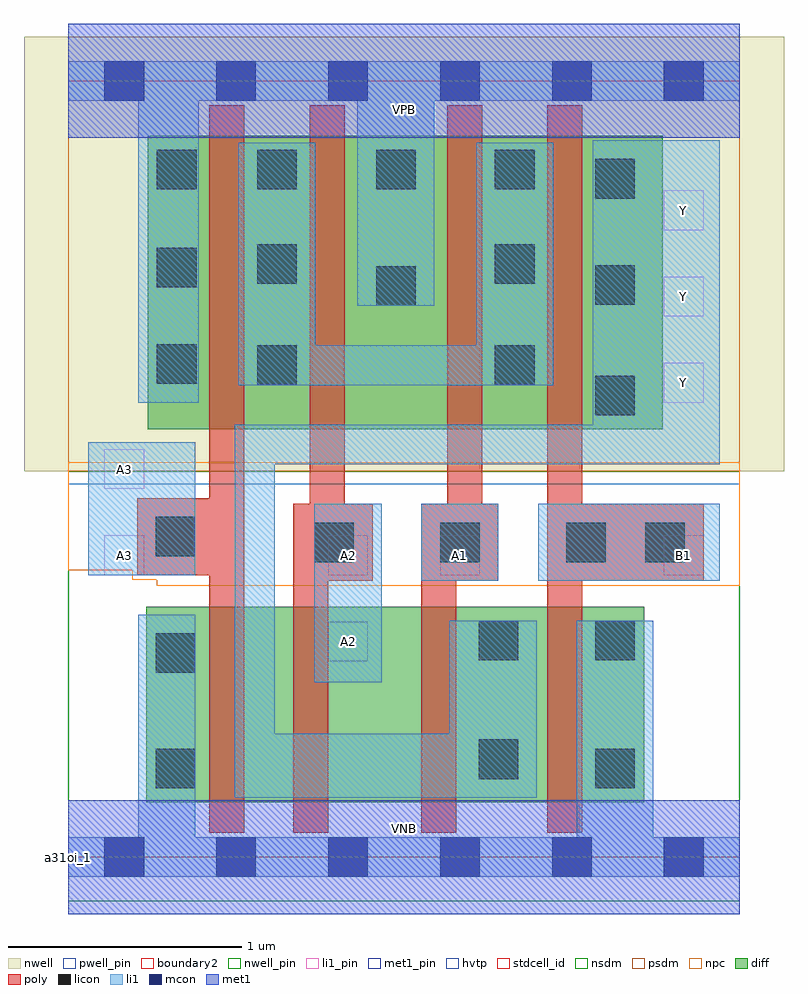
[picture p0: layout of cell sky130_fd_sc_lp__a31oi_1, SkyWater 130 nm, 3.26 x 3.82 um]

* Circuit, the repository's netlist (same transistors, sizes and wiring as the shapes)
* Copyright 2020 The SkyWater PDK Authors
*
* Licensed under the Apache License, Version 2.0 (the "License");
* you may not use this file except in compliance with the License.
* You may obtain a copy of the License at
*
*     https://www.apache.org/licenses/LICENSE-2.0
*
* Unless required by applicable law or agreed to in writing, software
* distributed under the License is distributed on an "AS IS" BASIS,
* WITHOUT WARRANTIES OR CONDITIONS OF ANY KIND, either express or implied.
* See the License for the specific language governing permissions and
* limitations under the License.
*
* SPDX-License-Identifier: Apache-2.0

.SUBCKT sky130_fd_sc_lp__a31oi_1 A1 A2 A3 B1 VGND VNB VPB VPWR Y
*.PININFO A1:I A2:I A3:I B1:I VGND:I VNB:I VPB:I VPWR:I Y:O
MMPA0 pndA A1 VPWR VPB sky130_fd_pr__pfet_01v8_hvt m=1 w=1.26U l=0.15U mult=1 sa=0.265
+ sb=0.265 sd=0.28 area=0.063 perim=1.14
MMPA1 pndA A2 VPWR VPB sky130_fd_pr__pfet_01v8_hvt m=1 w=1.26U l=0.15U mult=1 sa=0.265
+ sb=0.265 sd=0.28 area=0.063 perim=1.14
MMPA2 pndA A3 VPWR VPB sky130_fd_pr__pfet_01v8_hvt m=1 w=1.26U l=0.15U mult=1 sa=0.265
+ sb=0.265 sd=0.28 area=0.063 perim=1.14
MMPB0 Y B1 pndA VPB sky130_fd_pr__pfet_01v8_hvt m=1 w=1.26U l=0.15U mult=1 sa=0.265
+ sb=0.265 sd=0.28 area=0.063 perim=1.14
MMNA0 Y A1 sndA1 VNB sky130_fd_pr__nfet_01v8 m=1 w=0.84U l=0.15U mult=1 sa=0.265
+ sb=0.265 sd=0.28 area=0.063 perim=1.14
MMNA1 sndA1 A2 sndA2 VNB sky130_fd_pr__nfet_01v8 m=1 w=0.84U l=0.15U mult=1 sa=0.265
+ sb=0.265 sd=0.28 area=0.063 perim=1.14
MMNA2 sndA2 A3 VGND VNB sky130_fd_pr__nfet_01v8 m=1 w=0.84U l=0.15U mult=1 sa=0.265
+ sb=0.265 sd=0.28 area=0.063 perim=1.14
MMNB0 Y B1 VGND VNB sky130_fd_pr__nfet_01v8 m=1 w=0.84U l=0.15U mult=1 sa=0.265
+ sb=0.265 sd=0.28 area=0.063 perim=1.14
.ENDS sky130_fd_sc_lp__a31oi_1

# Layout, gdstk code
import gdstk
lib = gdstk.Library(unit=1e-6, precision=1e-09)
def R(c, l, rs):  # rectangles x0, y0, x1, y1
    for r in rs: c.add(gdstk.rectangle(r[:2], r[2:], *l))
def A(c, l, x, y, w, h, nx, ny, dx, dy):  # array of equal rectangles
    R(c, l, [(x+i*dx, y+j*dy, x+i*dx+w, y+j*dy+h) for i in range(nx) for j in range(ny)])
def P(c, l, *ps):  # polygons
    for p in ps: c.add(gdstk.Polygon(p, *l))
nwell_pin = (64, 16)
nwell = (64, 20)
diff = (65, 20)
poly = (66, 20)
licon = (66, 44)
li1_pin = (67, 16)
li1 = (67, 20)
mcon = (67, 44)
met1_pin = (68, 16)
met1 = (68, 20)
hvtp = (78, 44)
stdcell_id = (81, 4)
nsdm = (93, 44)
psdm = (94, 20)
npc = (95, 20)
pwell_pin = (122, 16)
boundary2 = (236, 0)

sky130_fd_sc_lp__a31oi_1 = lib.new_cell('sky130_fd_sc_lp__a31oi_1')
R(sky130_fd_sc_lp__a31oi_1, nwell_pin, [(0,3.085,2.88,3.33)])
R(sky130_fd_sc_lp__a31oi_1, nwell, [(-0.19,1.655,3.07,3.52)])
R(sky130_fd_sc_lp__a31oi_1, diff, [(0.335,0.235,2.47,1.075), (0.34,1.835,2.55,3.095)])
P(sky130_fd_sc_lp__a31oi_1, poly, [(0.755,3.225),(0.605,3.225),(0.605,1.54),(0.295,1.54),(0.295,1.21),(0.605,1.21),(0.605,0.105),(0.755,0.105)],
  [(1.305,1.515),(1.185,1.515),(1.185,3.225),(1.035,3.225),(1.035,1.515),(0.965,1.515),(0.965,0.105),(1.115,0.105),(1.115,1.185),(1.305,1.185)],
  [(1.845,1.515),(1.775,1.515),(1.775,3.225),(1.625,3.225),(1.625,1.515),(1.515,1.515),(1.515,0.105),(1.665,0.105),(1.665,1.185),(1.845,1.185)],
  [(2.725,1.515),(2.205,1.515),(2.205,3.225),(2.055,3.225),(2.055,0.105),(2.205,0.105),(2.205,1.185),(2.725,1.185)])
A(sky130_fd_sc_lp__a31oi_1, licon, 1.055, 1.265, 0.17, 0.17, 3, 1, 0.54, 0)
A(sky130_fd_sc_lp__a31oi_1, licon, 0.81, 2.865, 0.17, 0.17, 3, 1, 0.51, 0)
R(sky130_fd_sc_lp__a31oi_1, licon, [(0.375,0.295,0.545,0.465), (2.26,0.295,2.43,0.465), (1.76,0.335,1.93,0.505), (0.375,0.79,0.545,0.96), (1.76,0.845,1.93,1.015), (2.26,0.845,2.43,1.015), (2.475,1.265,2.645,1.435), (0.375,1.29,0.545,1.46), (2.26,1.895,2.43,2.065), (0.81,2.025,0.98,2.195), (1.83,2.025,2,2.195), (0.38,2.03,0.55,2.2), (1.32,2.365,1.49,2.535), (2.26,2.37,2.43,2.54), (0.38,2.445,0.55,2.615), (0.81,2.46,0.98,2.63), (1.83,2.46,2,2.63), (2.26,2.825,2.43,2.995), (0.38,2.865,0.55,3.035)])
A(sky130_fd_sc_lp__a31oi_1, li1_pin, 2.555, 1.95, 0.17, 0.17, 1, 3, 0, 0.37)
R(sky130_fd_sc_lp__a31oi_1, li1_pin, [(1.115,0.84,1.285,1.01), (0.155,1.21,0.325,1.38), (1.115,1.21,1.285,1.38), (1.595,1.21,1.765,1.38), (2.555,1.21,2.725,1.38), (0.155,1.58,0.325,1.75)])
R(sky130_fd_sc_lp__a31oi_1, li1, [(1.055,0.75,1.345,1.515), (1.515,1.185,1.845,1.515), (2.015,1.185,2.795,1.515), (0.085,1.21,0.545,1.78)])
P(sky130_fd_sc_lp__a31oi_1, li1, [(1.24,2.365),(1.24,3.245),(0.56,3.245),(0.56,1.95),(0.3,1.95),(0.3,3.245),(0,3.245),(0,3.415),(2.88,3.415),(2.88,3.245),(1.57,3.245),(1.57,2.365)],
  [(0.3,0.085),(0.3,1.04),(0.545,1.04),(0.545,0.085),(2.18,0.085),(2.18,1.015),(2.51,1.015),(2.51,0.085),(2.88,0.085),(2.88,-0.085),(0,-0.085),(0,0.085)],
  [(2.795,3.075),(2.25,3.075),(2.25,1.855),(0.715,1.855),(0.715,0.255),(2.01,0.255),(2.01,1.015),(1.635,1.015),(1.635,0.53),(0.885,0.53),(0.885,1.685),(2.795,1.685)],
  [(1.06,2.195),(1.75,2.195),(1.75,3.065),(2.08,3.065),(2.08,2.025),(0.73,2.025),(0.73,3.065),(1.06,3.065)])
A(sky130_fd_sc_lp__a31oi_1, mcon, 0.155, -0.085, 0.17, 0.17, 6, 2, 0.48, 3.33)
R(sky130_fd_sc_lp__a31oi_1, met1_pin, [(0,0,2.88,0.245), (0,3.085,2.88,3.33)])
R(sky130_fd_sc_lp__a31oi_1, met1, [(0,-0.245,2.88,0.245), (0,3.085,2.88,3.575)])
R(sky130_fd_sc_lp__a31oi_1, hvtp, [(0,1.6,2.88,3.33)])
R(sky130_fd_sc_lp__a31oi_1, stdcell_id, [(0,0,2.88,3.33)])
R(sky130_fd_sc_lp__a31oi_1, nsdm, [(0,-0.19,2.88,1.655)])
R(sky130_fd_sc_lp__a31oi_1, psdm, [(0,1.655,2.88,3.52)])
P(sky130_fd_sc_lp__a31oi_1, npc, [(2.88,1.695),(0,1.695),(0,1.23),(0.275,1.23),(0.275,1.19),(0.38,1.19),(0.38,1.165),(2.88,1.165)])
R(sky130_fd_sc_lp__a31oi_1, pwell_pin, [(0,0,2.88,0.245)])
R(sky130_fd_sc_lp__a31oi_1, boundary2, [(0,0,2.88,3.33)])
sky130_fd_sc_lp__a31oi_1.add(gdstk.Label('VNB', (1.44,0.123), layer=64, texttype=59))
sky130_fd_sc_lp__a31oi_1.add(gdstk.Label('VPB', (1.44,3.208), layer=64, texttype=5))
sky130_fd_sc_lp__a31oi_1.add(gdstk.Label('a31oi_1', (0,0), layer=83, texttype=44))
sky130_fd_sc_lp__a31oi_1.add(gdstk.Label('VPWR', (1.44,3.208), layer=68, texttype=5))
sky130_fd_sc_lp__a31oi_1.add(gdstk.Label('VGND', (1.44,0.123), layer=68, texttype=5))
sky130_fd_sc_lp__a31oi_1.add(gdstk.Label('A1', (1.68,1.295), layer=67, texttype=5))
sky130_fd_sc_lp__a31oi_1.add(gdstk.Label('Y', (2.64,2.035), layer=67, texttype=5))
sky130_fd_sc_lp__a31oi_1.add(gdstk.Label('A2', (1.2,0.925), layer=67, texttype=5))
sky130_fd_sc_lp__a31oi_1.add(gdstk.Label('A2', (1.2,1.295), layer=67, texttype=5))
sky130_fd_sc_lp__a31oi_1.add(gdstk.Label('B1', (2.64,1.295), layer=67, texttype=5))
sky130_fd_sc_lp__a31oi_1.add(gdstk.Label('A3', (0.24,1.295), layer=67, texttype=5))
sky130_fd_sc_lp__a31oi_1.add(gdstk.Label('A3', (0.24,1.665), layer=67, texttype=5))
sky130_fd_sc_lp__a31oi_1.add(gdstk.Label('Y', (2.64,2.775), layer=67, texttype=5))
sky130_fd_sc_lp__a31oi_1.add(gdstk.Label('Y', (2.64,2.405), layer=67, texttype=5))

lib.write_gds('sky130_fd_sc_lp__a31oi_1.gds')
